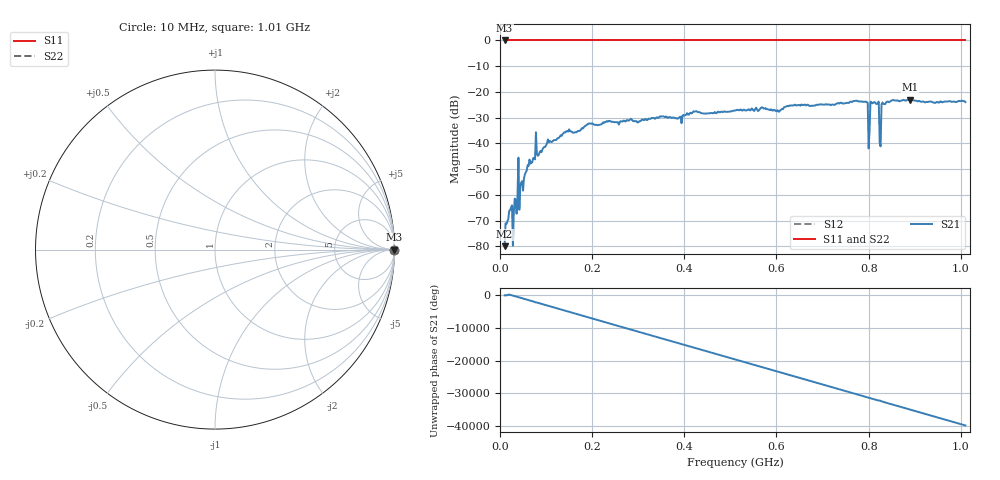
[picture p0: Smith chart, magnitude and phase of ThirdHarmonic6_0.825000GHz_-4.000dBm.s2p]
! 8/16/2025 3:24:10 AM
! C:\ANRITSUVNA\TEMP\TEMP.S2P
! CHANNEL.1
! TR.MEASUREMENT
! RAW.DATA
! RF.CORRECTION.OFF
! AVERAGING.OFF
! IF.BANDWIDTH: 5KHZ
! SWEEPTYPE:  FREQ.SWEEP(Linear)
! Reference Plane Port Info
! PORT:  PORT1  PORT2
! DISTANCE:  0  m  0  m
! TIME:  0  s  0  s
! PHASE.OFFSET:  0  deg.  0  deg.
! LOSS:  0  dB  0  dB
! REF.LOSS:  0  dB  0  dB
! REF.FREQ:  0  Hz  0  Hz
! Power Info
! POWER:  -20  dBm  -20  dBm
! EFF.POWER:  -20  dBm  -20  dBm
! SOURCE.ATTEN:  0  dB  0  dB
! TEST.ATTEN:  0  dB  0  dB
# GHZ S RI R 50.0
! FREQ.GHZ  S11RE  S11IM  S21RE  S21IM  S12RE  S12IM  S22RE  S22IM
!; PortSelection: Port_12
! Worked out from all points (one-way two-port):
!   501 points, 10 MHz to 1.01 GHz, reference 50 ohm
!   highest |S21| = -23.02 dB at 890 MHz (marker M1); lowest = -79.9 dB at 10 MHz (marker M2)
!   lowest |S11| = 0.0 dB at 10 MHz (marker M3)
!   |S11| at or under -10 dB: nowhere
!   |S22| runs from 0.0 to 0.0 dB; largest |S21 - S12| = 1.1
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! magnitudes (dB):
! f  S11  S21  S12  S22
! 10 MHz  0.0  -79.9  0.0  0.0
! 22 MHz  0.0  -65.9  0.0  0.0
! 32 MHz  0.0  -61.5  0.0  0.0
! 36 MHz  0.0  -67.3  0.0  0.0
! 44 MHz  0.0  -56.7  0.0  0.0
! 46 MHz  0.0  -55.2  0.0  0.0
! 76 MHz  0.0  -46.2  0.0  0.0
! 178 MHz  0.0  -34.1  0.0  0.0
! 344 MHz  0.0  -30.1  0.0  0.0
! 510 MHz  0.0  -27.2  0.0  0.0
! 678 MHz  0.0  -25.4  0.0  0.0
! 794 MHz  0.0  -23.8  0.0  0.0
! 798 MHz  0.0  -24.2  0.0  0.0
! 804 MHz  0.0  -23.8  0.0  0.0
! 808 MHz  0.0  -24.4  0.0  0.0
! 818 MHz  0.0  -24.7  0.0  0.0
! 822 MHz  0.0  -23.7  0.0  0.0
! 828 MHz  0.0  -24.9  0.0  0.0
! 832 MHz  0.0  -24.6  0.0  0.0
! 844 MHz  0.0  -24.0  0.0  0.0
! 890 MHz  0.0  -23.0  0.0  0.0
! 1.01 GHz  0.0  -23.9  0.0  0.0
